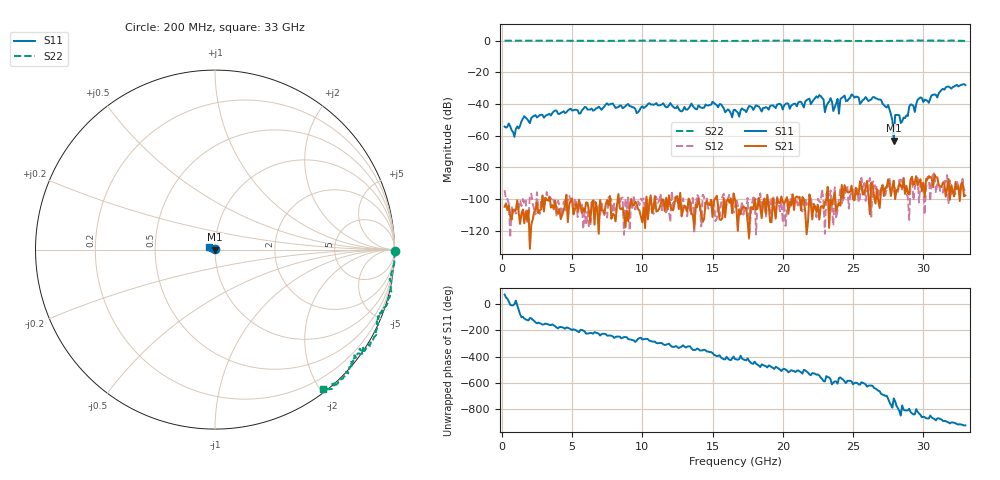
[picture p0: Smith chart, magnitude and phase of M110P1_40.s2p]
# GHZ S RI R 50
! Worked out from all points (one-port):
!   329 points, 200 MHz to 33 GHz, reference 50 ohm
!   lowest |S11| = -63.2 dB at 27.9 GHz (marker M1), VSWR 1.00, Z = 50.1 + j0.000197 ohm
!   |S11| at or under -10 dB: start of sweep to end of sweep
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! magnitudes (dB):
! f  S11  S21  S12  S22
! 200 MHz  -54.3  -105.0  -94.4  0.0
! 900 MHz  -60.8  -107.5  -106.7  0.0
! 1.6 GHz  -47.7  -115.4  -103.2  0.0
! 5.7 GHz  -44.1  -108.9  -103.6  -0.1
! 11.2 GHz  -40.9  -106.2  -101.0  0.1
! 16.6 GHz  -43.7  -100.3  -105.1  -0.1
! 22.1 GHz  -38.6  -112.9  -105.7  0.1
! 22.7 GHz  -35.0  -105.0  -102.1  -0.1
! 23 GHz  -45.2  -102.1  -122.1  0.0
! 23.4 GHz  -36.3  -100.5  -94.6  -0.2
! 23.6 GHz  -44.5  -99.9  -116.8  0.0
! 23.9 GHz  -36.8  -104.7  -106.9  0.0
! 24 GHz  -46.1  -102.6  -99.9  0.1
! 24.1 GHz  -37.0  -104.2  -94.0  0.0
! 24.9 GHz  -33.9  -91.7  -95.9  -0.2
! 27.6 GHz  -43.4  -90.6  -86.5  -0.1
! 27.8 GHz  -50.4  -92.4  -96.9  -0.1
! 27.9 GHz  -63.2  -88.5  -95.3  -0.1
! 28 GHz  -46.9  -100.1  -93.2  0.0
! 28.4 GHz  -52.1  -91.9  -87.8  0.0
! 29.8 GHz  -35.9  -87.5  -89.9  0.1
! 33 GHz  -28.0  -97.8  -94.4  -0.1
